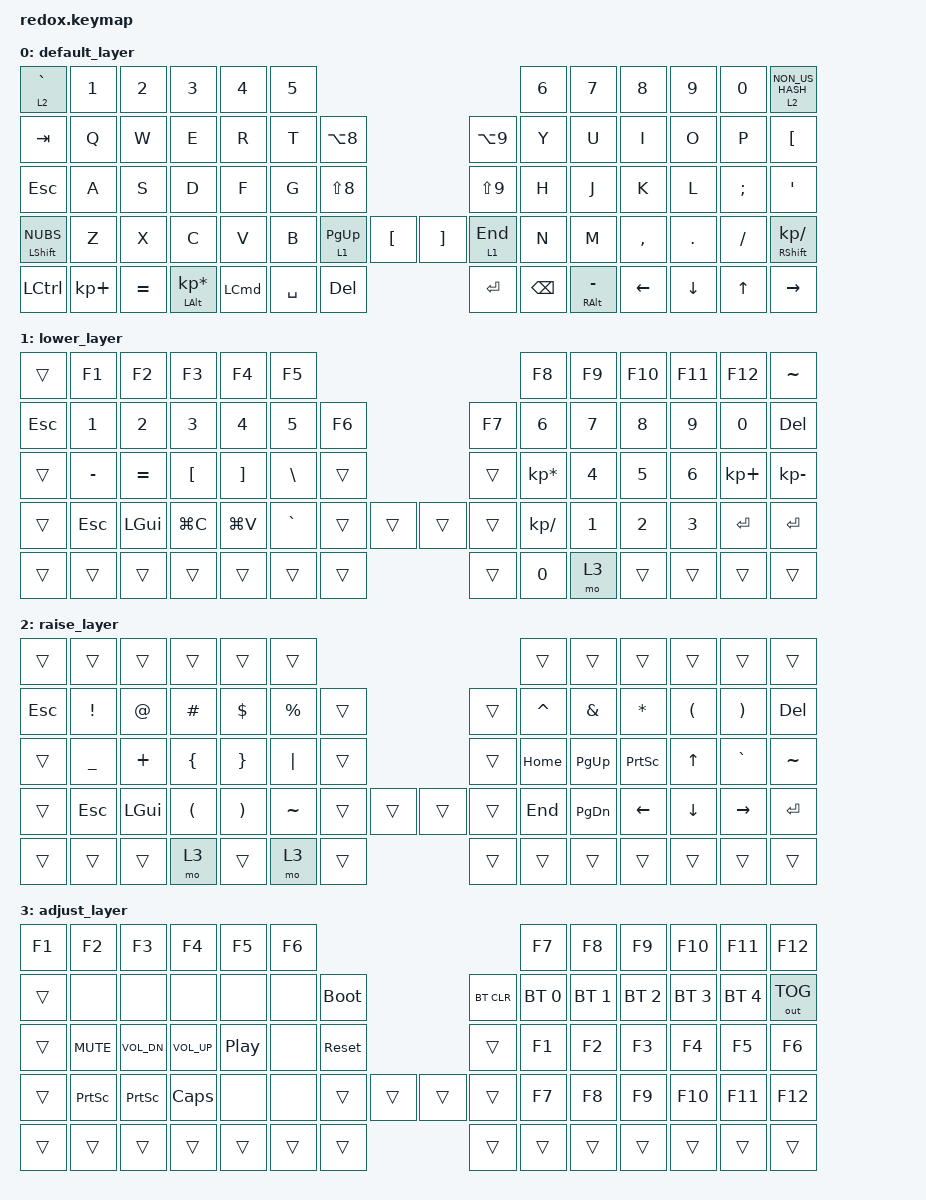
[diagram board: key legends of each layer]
/*
 * Copyright (c) 2021 The ZMK Contributors
 *
 * SPDX-License-Identifier: MIT
 */

#include <behaviors.dtsi>
#include <dt-bindings/zmk/keys.h>
#include <dt-bindings/zmk/bt.h>
#include <dt-bindings/zmk/ext_power.h>
#include <dt-bindings/zmk/outputs.h>

/ {
    keymap {
        compatible =  "zmk,keymap" ;

        default_layer {
// --------------------------------------------------------------------------------------------------------------------------------
// | CARET   |  1  |  2  |   3   |  4  |  5  |                 ---                |  6    |  7    |  8    |  9   | 0  |    HASH   |
// | TAB   |  Q  |  W  |   E   |  R  |  T  |   (   |           ---        |  )    |  Y    |  U    |  I    |  O   | P  |     -     |
// | ESC  |  A  |  S  |   D   |  F  |  G  |   {    |           ---         |  }    |  H    |  J    |  K    |  L   | ;  |     '     |
// | SHIFT |  Z  |  X  |   C   |  V  |  B  | PG_UP | [       | --- | ]    | END   |  N    |  M    |  ,    |  .   | /  | SHFT(/) |
// | CRTL  | PLUS | BT | ALT/MULT |   LCMD | SPACE | DEL     | --- | ENT  | DEL   |    RALT/ß?    | LEFT  | DOWN | UP |   RIGHT   |
            bindings = <
   &lt 2 GRAVE    &kp N1      &kp N2    &kp N3 &kp N4   &kp N5                                                            &kp N6    &kp N7    &kp N8    &kp N9   &kp N0   &lt 2 NON_US_HASH
   &kp TAB        &kp Q       &kp W     &kp E  &kp R    &kp T         &kp LA(N8)                          &kp LA(N9)      &kp Y     &kp U     &kp I     &kp O    &kp P    &kp LBKT
   &kp ESC        &kp A       &kp S     &kp D  &kp F    &kp G         &kp LS(N8)                          &kp LS(N9)      &kp H     &kp J     &kp K     &kp L    &kp SEMI &kp SQT
   &mt LSHFT NUBS &kp Z       &kp X     &kp C  &kp V    &kp B         &lt 1 PG_UP &kp LBKT      &kp RBKT  &lt 1 END       &kp N     &kp M     &kp COMMA &kp DOT  &kp FSLH &mt RSHFT KP_SLASH
   &kp LCTRL      &kp KP_PLUS &kp EQUAL &mt LALT KP_MULTIPLY &kp LCMD &kp SPACE   &kp DEL       &kp ENTER &kp BSPC        &mt RALT MINUS      &kp LEFT  &kp DOWN &kp UP   &kp RIGHT
            >;
        };

        lower_layer {
// --------------------------------------------------------------------------------------------------------------------------
// | ESC   |  F1 |  F2 |  F3   |   F4  |  F5 |                   ---              |  F8 |  F9 | F10  | F11  | F12 |  DEL  |
// | ESC   |  1  |  2  |   3   |   4   |  5  |  F6   |           ---        |  F7 |  6  |  7  |   8  |  9   |  0  |  DEL  |
// | CTRL  |  -  |  =  |   [   |   ]   |  \  |   [   |           ---        |  ]  |  *  |  4  |   5  |  6   |  +  |   -   |
// | SHIFT | ESC | GUI | COPY  | PASTE |     | PG_UP | PG_DOWN | --- | HOME | END |  \  |  1  |   2  |  3   | RET |  RET  |
// | CRTL  | ALT | GUI | LOWER |     GUI     | LOWER | SPACE   | --- | DEL  |  0  |    RAISE  | LEFT | DOWN | UP  | RIGHT |
            bindings = <
   &trans  &kp F1    &kp F2    &kp F3    &kp F4    &kp F5                                   &kp F8          &kp F9    &kp F10   &kp F11   &kp F12      &kp TILDE
   &kp ESC &kp N1    &kp N2    &kp N3    &kp N4    &kp N5    &kp F6               &kp F7    &kp N6          &kp N7    &kp N8    &kp N9    &kp N0      &kp DEL
   &trans  &kp MINUS &kp EQUAL &kp LBKT  &kp RBKT  &kp BSLH  &trans               &trans &kp KP_MULTIPLY &kp N4    &kp N5    &kp N6    &kp KP_PLUS &kp KP_MINUS
   &trans  &kp ESC   &kp LGUI  &kp LG(C) &kp LG(V) &kp GRAVE &trans &trans &trans &trans &kp KP_DIVIDE   &kp N1    &kp N2    &kp N3    &kp RET     &kp RET
   &trans  &trans    &trans    &trans          &trans        &trans &trans &trans &kp N0          &mo 3            &trans    &trans    &trans      &trans
            >;
        };

        raise_layer {
// ----------------------------------------------------------------------------------------------------------------------------
// | ESC   |  1  |  2  |   3   |  4  |  5  |                   ---                |  6   |  7   |  8   |  9   |  0    |  DEL  |
// | ESC   |  !  |  @  |   #   |  $  |  %  |   (   |           ---        |  )    |  ^   |  &   |  *   |  (   |  )    |  DEL  |
// | CTRL  |  _  |  +  |   {   |  }  | "|" |   [   |           ---        |  ]    | HOME | PGUP | PRSC | UP   |  `    |   ~   |
// | SHIFT | ESC | GUI |   (   |  )  |     | PG_UP | PG_DOWN | --- | HOME | END   | END  | PGDN | LEFT | DOWN | RIGHT |  RET  |
// | CRTL  | ALT | GUI | LOWER |    GUI    | LOWER | SPACE   | --- | DEL  | SPACE |    RAISE    | LEFT | DOWN | UP    | RIGHT |
            bindings = <
   &trans  &trans    &trans   &trans   &trans   &trans                                &trans    &trans    &trans    &trans   &trans    &trans
   &kp ESC &kp EXCL  &kp AT   &kp HASH &kp DLLR &kp PRCNT &trans               &trans &kp CARET &kp AMPS  &kp ASTRK &kp LPAR &kp RPAR  &kp DEL
   &trans  &kp UNDER &kp PLUS &kp LBRC &kp RBRC &kp PIPE  &trans               &trans &kp HOME  &kp PG_UP &kp PSCRN &kp UP   &kp GRAVE &kp TILDE
   &trans  &kp ESC   &kp LGUI &kp LPAR &kp RPAR &kp TILDE &trans &trans &trans &trans &kp END   &kp PG_DN &kp LEFT  &kp DOWN &kp RIGHT &kp RET
   &trans  &trans    &trans   &mo 3         &trans        &mo 3  &trans &trans &trans        &trans       &trans    &trans   &trans    &trans
            >;
        };

        adjust_layer {
// -----------------------------------------------------------------------------------------
// |  F1   |  F2   |    F3    |    F4     |     F5     | F6 |                   ---                | F7  | F8  |  F9  |  F10 | F11 | F12        |
// | TAB   |       |          |           |            |    | BOOTL |           ---        |  )    | BT1 | BT2 |  BT3 |  BT4 | BT5 | OUTPUT TGL |
// | CTRL  | MUTE  |  Vol Dn  |  Vol Up   | Play/Pause |    | RESET |           ---        |  ]    | F1  | F2  |  F3  |  F4  | F5  | F6         |
// | SHIFT | PSCRN |  PSCRN   |   CAPS    |            |    | PG_UP | PG_DOWN | --- | HOME | END   | F7  | F8  |  F9  |  F10 | F11 | F12        |
// | CRTL  | ALT   |  GUI     |   LOWER   |      GUI        | LOWER | SPACE   | --- | DEL  | SPACE |   RAISE   | LEFT | DOWN | UP  |   RIGHT    |
                        bindings = <
   &kp F1  &kp F2     &kp F3       &kp F4       &kp F5           &kp F6                                 &kp F7       &kp F8       &kp F9       &kp F10      &kp F11       &kp F12
   &trans  &none      &none        &none        &none            &none  &bootloader          &bt BT_CLR &bt BT_SEL 0 &bt BT_SEL 1 &bt BT_SEL 2 &bt BT_SEL 3 &bt BT_SEL 4  &out OUT_TOG
   &trans  &kp K_MUTE &kp C_VOL_DN &kp C_VOL_UP &kp C_PLAY_PAUSE &none  &sys_reset               &trans     &kp F1       &kp F2       &kp F3       &kp F4       &kp F5        &kp F6
   &trans  &kp PSCRN  &kp PSCRN    &kp CLCK     &none            &none  &trans &trans &trans &trans     &kp F7       &kp F8       &kp F9       &kp F10      &kp F11       &kp F12
   &trans  &trans     &trans       &trans              &trans           &trans &trans &trans &trans          &trans           &trans       &trans       &trans        &trans
            >;
        };
    };
};
